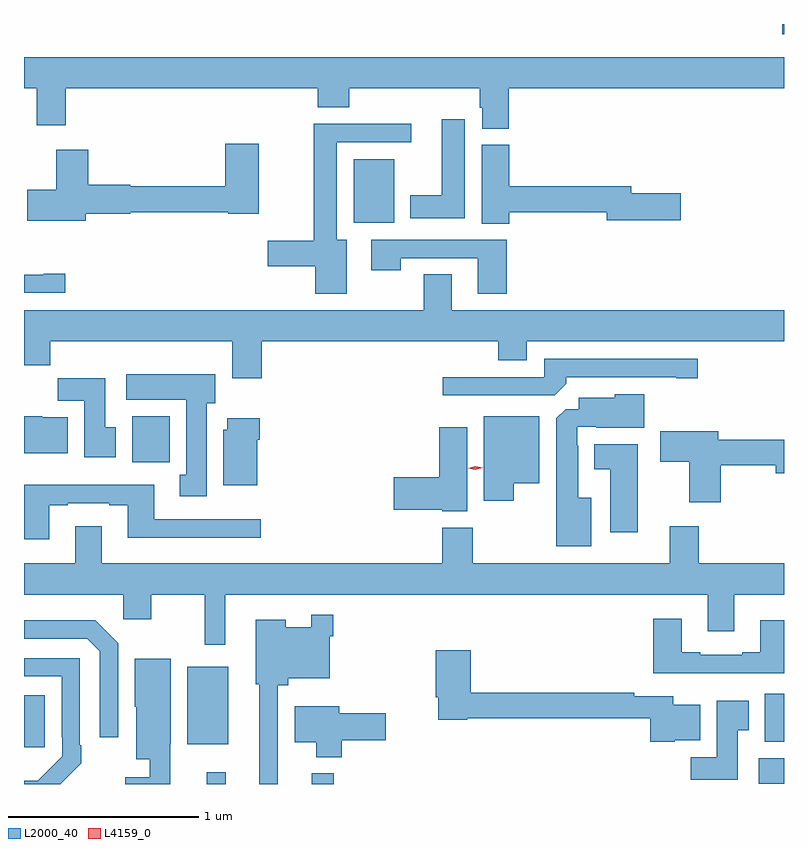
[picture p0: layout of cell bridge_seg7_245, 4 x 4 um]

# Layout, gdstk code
import gdstk
lib = gdstk.Library(unit=1e-6, precision=1e-09)
def R(c, l, rs):  # rectangles x0, y0, x1, y1
    for r in rs: c.add(gdstk.rectangle(r[:2], r[2:], *l))
def P(c, l, *ps):  # polygons
    for p in ps: c.add(gdstk.Polygon(p, *l))
L2000_40 = (2000, 40)
L4159_0 = (4159, 0)

bridge_seg7_245 = lib.new_cell('bridge_seg7_245')
R(bridge_seg7_245, L2000_40, [(179.444,1059.559,179.543,1059.622), (179.996,1059.559,180.113,1059.616), (182.349,1059.56,182.482,1059.694), (178.482,1059.753,178.591,1060.027), (179.342,1059.767,179.557,1060.177), (182.381,1059.782,182.482,1060.033), (179.051,1061.252,179.248,1061.494), (180.218,1062.512,180.43,1062.847), (182.473,1063.506,182.482,1063.559)])
P(bridge_seg7_245, L2000_40, [(181.034,1063.22),(182.482,1063.22),(182.482,1063.384),(178.482,1063.384),(178.482,1063.22),(178.55,1063.22),(178.55,1063.026),(178.703,1063.026),(178.703,1063.22),(180.029,1063.22),(180.029,1063.121),(180.194,1063.121),(180.194,1063.22),(180.881,1063.22),(180.881,1063.119),(180.893,1063.119),(180.893,1063.009),(181.034,1063.009)],
  [(180.802,1063.057),(180.68,1063.057),(180.68,1062.658),(180.515,1062.658),(180.515,1062.536),(180.802,1062.536)],
  [(180.181,1062.424),(180.127,1062.424),(180.127,1062.936),(180.52,1062.936),(180.52,1063.034),(180.007,1063.034),(180.007,1062.419),(179.766,1062.419),(179.766,1062.284),(180.014,1062.284),(180.014,1062.138),(180.181,1062.138)],
  [(178.807,1062.56),(179.04,1062.56),(179.04,1062.568),(179.556,1062.568),(179.556,1062.56),(179.718,1062.56),(179.718,1062.928),(179.54,1062.928),(179.54,1062.704),(179.04,1062.704),(179.04,1062.712),(178.82,1062.712),(178.82,1062.898),(178.652,1062.898),(178.652,1062.687),(178.5,1062.687),(178.5,1062.524),(178.807,1062.524)],
  [(181.037,1062.568),(181.55,1062.568),(181.55,1062.526),(181.939,1062.526),(181.939,1062.668),(181.678,1062.668),(181.678,1062.704),(181.037,1062.704),(181.037,1062.924),(180.89,1062.924),(180.89,1062.508),(181.037,1062.508)],
  [(181.022,1062.423),(180.309,1062.423),(180.309,1062.264),(180.465,1062.264),(180.465,1062.327),(180.869,1062.327),(180.869,1062.138),(181.022,1062.138)],
  [(178.699,1062.245),(178.586,1062.245),(178.586,1062.24),(178.482,1062.24),(178.482,1062.144),(178.699,1062.144)],
  [(179.732,1061.888),(180.977,1061.888),(180.977,1061.789),(181.129,1061.789),(181.129,1061.888),(182.482,1061.888),(182.482,1062.052),(180.733,1062.052),(180.733,1062.242),(180.586,1062.242),(180.586,1062.052),(178.482,1062.052),(178.482,1061.764),(178.619,1061.764),(178.619,1061.888),(179.579,1061.888),(179.579,1061.694),(179.732,1061.694)],
  [(181.337,1061.666),(181.337,1061.7),(181.916,1061.7),(181.916,1061.695),(182.029,1061.695),(182.029,1061.796),(181.221,1061.796),(181.221,1061.7),(180.687,1061.7),(180.687,1061.604),(181.275,1061.604)],
  [(179.443,1061.562),(179.488,1061.562),(179.488,1061.716),(179.019,1061.716),(179.019,1061.582),(179.336,1061.582),(179.336,1061.186),(179.303,1061.186),(179.303,1061.073),(179.443,1061.073)],
  [(178.966,1061.436),(178.909,1061.436),(178.909,1061.695),(178.66,1061.695),(178.66,1061.576),(178.799,1061.576),(178.799,1061.28),(178.966,1061.28)],
  [(181.468,1061.065),(181.399,1061.065),(181.399,1061.339),(181.395,1061.339),(181.395,1061.439),(181.495,1061.439),(181.495,1061.435),(181.747,1061.435),(181.747,1061.611),(181.59,1061.611),(181.59,1061.593),(181.403,1061.593),(181.403,1061.532),(181.332,1061.532),(181.283,1061.483),(181.283,1060.811),(181.468,1060.811)],
  [(178.711,1061.488),(178.578,1061.488),(178.578,1061.494),(178.482,1061.494),(178.482,1061.3),(178.711,1061.3)],
  [(181.06,1061.141),(181.195,1061.141),(181.195,1061.494),(180.902,1061.494),(180.902,1061.049),(181.06,1061.049)],
  [(179.71,1061.372),(179.723,1061.372),(179.723,1061.485),(179.552,1061.485),(179.552,1061.424),(179.531,1061.424),(179.531,1061.132),(179.71,1061.132)],
  [(180.814,1061.437),(180.668,1061.437),(180.668,1061.174),(180.429,1061.174),(180.429,1061.003),(180.684,1061.003),(180.684,1060.994),(180.814,1060.994)],
  [(182.15,1061.236),(182.438,1061.236),(182.438,1061.194),(182.482,1061.194),(182.482,1061.372),(182.137,1061.372),(182.137,1061.416),(181.83,1061.416),(181.83,1061.254),(181.982,1061.254),(181.982,1061.043),(182.15,1061.043)],
  [(181.711,1061.347),(181.484,1061.347),(181.484,1061.216),(181.568,1061.216),(181.568,1060.884),(181.711,1060.884)],
  [(178.615,1061.025),(178.711,1061.025),(178.711,1061.037),(178.931,1061.037),(178.931,1061.025),(179.027,1061.025),(179.027,1060.856),(179.728,1060.856),(179.728,1060.953),(179.167,1060.953),(179.167,1061.134),(178.482,1061.134),(178.482,1060.848),(178.615,1060.848)],
  [(179.542,1060.556),(182.081,1060.556),(182.081,1060.362),(182.221,1060.362),(182.221,1060.556),(182.482,1060.556),(182.482,1060.72),(182.033,1060.72),(182.033,1060.915),(181.88,1060.915),(181.88,1060.72),(180.843,1060.72),(180.843,1060.909),(180.683,1060.909),(180.683,1060.72),(178.891,1060.72),(178.891,1060.915),(178.751,1060.915),(178.751,1060.72),(178.482,1060.72),(178.482,1060.556),(179.004,1060.556),(179.004,1060.425),(179.151,1060.425),(179.151,1060.556),(179.433,1060.556),(179.433,1060.293),(179.542,1060.293)],
  [(179.817,1060.079),(179.873,1060.079),(179.873,1060.115),(180.09,1060.115),(180.09,1060.337),(180.11,1060.337),(180.11,1060.45),(179.993,1060.45),(179.993,1060.384),(179.86,1060.384),(179.86,1060.423),(179.702,1060.423),(179.702,1060.083),(179.72,1060.083),(179.72,1059.559),(179.817,1059.559)],
  [(182.482,1060.42),(182.357,1060.42),(182.357,1060.252),(182.261,1060.252),(182.261,1060.239),(182.041,1060.239),(182.041,1060.252),(181.945,1060.252),(181.945,1060.429),(181.793,1060.429),(181.793,1060.142),(182.482,1060.142)],
  [(178.977,1060.299),(178.856,1060.42),(178.482,1060.42),(178.482,1060.323),(178.815,1060.323),(178.881,1060.257),(178.881,1059.804),(178.977,1059.804)],
  [(181.908,1059.788),(182.041,1059.788),(182.041,1059.976),(181.9,1059.976),(181.9,1060.02),(181.694,1060.02),(181.694,1060.04),(180.833,1060.04),(180.833,1060.264),(180.65,1060.264),(180.65,1060.015),(180.662,1060.015),(180.662,1059.896),(180.816,1059.896),(180.816,1059.904),(181.778,1059.904),(181.778,1059.782),(181.908,1059.782)],
  [(178.685,1059.571),(178.686,1059.57),(178.784,1059.668),(178.784,1059.763),(178.776,1059.763),(178.776,1060.221),(178.482,1060.221),(178.482,1060.125),(178.68,1060.125),(178.68,1059.805),(178.683,1059.805),(178.683,1059.705),(178.555,1059.577),(178.482,1059.577),(178.482,1059.559),(178.673,1059.559)],
  [(179.253,1059.771),(179.254,1059.771),(179.254,1060.219),(179.066,1060.219),(179.066,1059.966),(179.072,1059.966),(179.072,1059.689),(179.145,1059.689),(179.145,1059.594),(179.016,1059.594),(179.016,1059.559),(179.253,1059.559)],
  [(182.239,1059.841),(182.296,1059.841),(182.296,1059.997),(182.129,1059.997),(182.129,1059.7),(181.99,1059.7),(181.99,1059.582),(182.239,1059.582)],
  [(180.155,1059.79),(180.385,1059.79),(180.385,1059.932),(180.142,1059.932),(180.142,1059.967),(179.906,1059.967),(179.906,1059.779),(180.02,1059.779),(180.02,1059.701),(180.155,1059.701)])
P(bridge_seg7_245, L4159_0, [(180.858,1061.212),(180.82,1061.221),(180.82,1061.221),(180.82,1061.222),(180.858,1061.232),(180.896,1061.224),(180.896,1061.224),(180.896,1061.224)])

lib.write_gds('bridge_seg7_245.gds')
